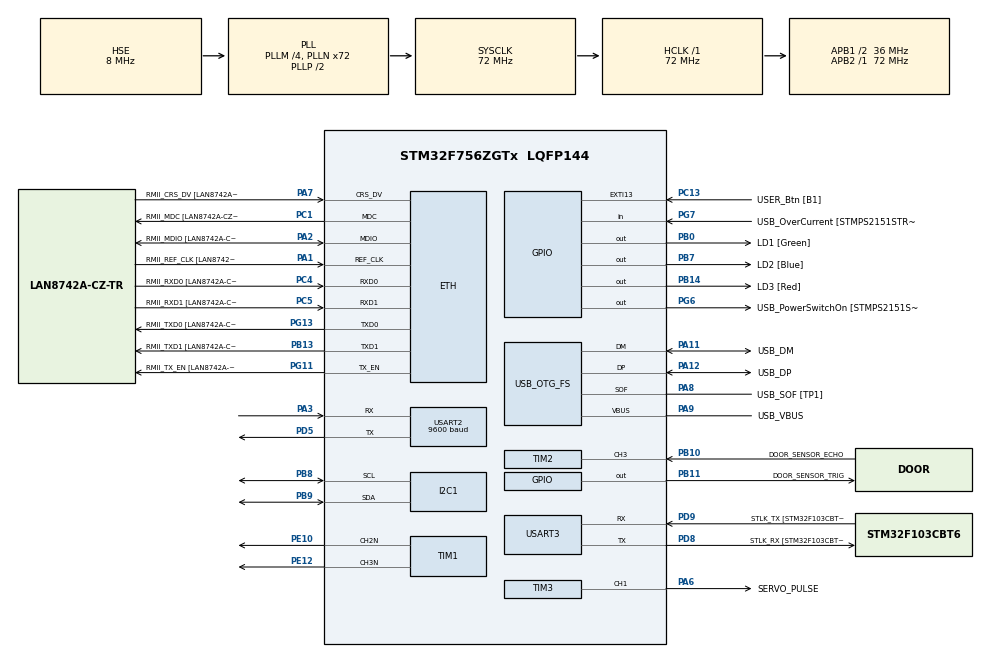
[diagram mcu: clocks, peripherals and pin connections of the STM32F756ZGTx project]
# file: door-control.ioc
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Dma.I2C1_RX.1.Direction=DMA_PERIPH_TO_MEMORY
Dma.I2C1_RX.1.FIFOMode=DMA_FIFOMODE_DISABLE
Dma.I2C1_RX.1.Instance=DMA1_Stream0
Dma.I2C1_RX.1.MemDataAlignment=DMA_MDATAALIGN_BYTE
Dma.I2C1_RX.1.MemInc=DMA_MINC_ENABLE
Dma.I2C1_RX.1.Mode=DMA_NORMAL
Dma.I2C1_RX.1.PeriphDataAlignment=DMA_PDATAALIGN_BYTE
Dma.I2C1_RX.1.PeriphInc=DMA_PINC_DISABLE
Dma.I2C1_RX.1.Priority=DMA_PRIORITY_LOW
Dma.I2C1_TX.0.Direction=DMA_MEMORY_TO_PERIPH
Dma.I2C1_TX.0.FIFOMode=DMA_FIFOMODE_DISABLE
Dma.I2C1_TX.0.Instance=DMA1_Stream6
Dma.I2C1_TX.0.MemDataAlignment=DMA_MDATAALIGN_BYTE
Dma.I2C1_TX.0.MemInc=DMA_MINC_ENABLE
Dma.I2C1_TX.0.Mode=DMA_NORMAL
Dma.I2C1_TX.0.PeriphDataAlignment=DMA_PDATAALIGN_BYTE
Dma.I2C1_TX.0.PeriphInc=DMA_PINC_DISABLE
Dma.I2C1_TX.0.Priority=DMA_PRIORITY_LOW
Dma.Request0=I2C1_TX
Dma.Request1=I2C1_RX
ETH.MediaInterface=HAL_ETH_RMII_MODE
ETH.PHY_Name=LAN8742A_PHY_ADDRESS
ETH.PHY_Value=0
ETH.PhyAddress=0
FREERTOS.Tasks01=UserInterfaceTa,24,256,StartUserInterfaceTask,Default,NULL,Static,UserInterfaceTaskBuffer,UserInterfaceTaskControlBlock;DoorOpsTask,48,256,StartDoorOpsTask,Default,NULL,Static,DoorOpsTaskBuffer,DoorOpsTaskControlBlock;CommsTask,32,256,StartCommsTask,Default,NULL,Static,CommsTaskBuffer,CommsTaskControlBlock;DoorSensorTask,49,256,StartDoorSensorTask,Default,NULL,Static,DoorSensorTaskBuffer,DoorSensorTaskControlBlock
FREERTOS.configUSE_NEWLIB_REENTRANT=1
I2C1.GeneralCallMode=I2C_GENERALCALL_ENABLE
I2C1.OwnAddress=0x0a
I2C1.Timing=0x00808CD2
LPTIM1.ClockPrescaler=LPTIM_PRESCALER_DIV128
LPTIM1.UpdateMode=LPTIM_UPDATE_IMMEDIATE
Mcu.Family=STM32F7
Mcu.Name=STM32F756ZGTx
Mcu.Package=LQFP144
NVIC.DMA1_Stream0_IRQn=true\:5\:0\:false\:false\:true\:true\:false\:true\:true
NVIC.DMA1_Stream6_IRQn=true\:5\:0\:false\:false\:true\:true\:false\:true\:true
NVIC.EXTI15_10_IRQn=true\:5\:0\:false\:false\:true\:true\:true\:true\:true
NVIC.I2C1_ER_IRQn=true\:5\:0\:false\:false\:true\:true\:true\:true\:true
NVIC.I2C1_EV_IRQn=true\:5\:0\:false\:false\:true\:true\:true\:true\:true
NVIC.LPTIM1_IRQn=true\:5\:0\:false\:false\:true\:true\:true\:true\:true
NVIC.PriorityGroup=NVIC_PRIORITYGROUP_4
NVIC.TIM2_IRQn=true\:5\:0\:false\:false\:true\:true\:true\:true\:true
NVIC.TIM4_IRQn=true\:15\:0\:false\:false\:true\:false\:false\:true\:true
NVIC.TimeBase=TIM4_IRQn
NVIC.TimeBaseIP=TIM4
PA1.GPIO_Label=RMII_REF_CLK [LAN8742A-CZ-TR_REFCLK0]
PA1.Mode=RMII
PA1.Signal=ETH_REF_CLK
PA10.GPIO_Label=USB_ID
PA10.Signal=USB_OTG_FS_ID
PA11.GPIO_Label=USB_DM
PA11.Mode=Device_Only
PA11.Signal=USB_OTG_FS_DM
PA12.GPIO_Label=USB_DP
PA12.Mode=Device_Only
PA12.Signal=USB_OTG_FS_DP
PA13.GPIO_Label=TMS
PA13.Mode=Serial_Wire
PA13.Signal=SYS_JTMS-SWDIO
PA14.GPIO_Label=TCK
PA14.Mode=Serial_Wire
PA14.Signal=SYS_JTCK-SWCLK
PA2.GPIO_Label=RMII_MDIO [LAN8742A-CZ-TR_MDIO]
PA2.Mode=RMII
PA2.Signal=ETH_MDIO
PA3.Mode=Asynchronous
PA3.Signal=USART2_RX
PA6.GPIO_Label=SERVO_PULSE
PA6.Signal=S_TIM3_CH1
PA7.GPIO_Label=RMII_CRS_DV [LAN8742A-CZ-TR_CRS_DV]
PA7.Mode=RMII
PA7.Signal=ETH_CRS_DV
PA8.GPIO_Label=USB_SOF [TP1]
PA8.Mode=Activate_SOF_FS
PA8.Signal=USB_OTG_FS_SOF
PA9.GPIO_Label=USB_VBUS
PA9.Mode=Activate_VBUS
PA9.Signal=USB_OTG_FS_VBUS
PB0.GPIO_Label=LD1 [Green]
PB0.Signal=GPIO_Output
PB10.GPIO_Label=DOOR_SENSOR_ECHO
PB10.GPIO_PuPd=GPIO_NOPULL
PB10.GPIO_Speed=GPIO_SPEED_FREQ_VERY_HIGH
PB10.Signal=S_TIM2_CH3
PB11.GPIO_Label=DOOR_SENSOR_TRIG
PB11.GPIO_PuPd=GPIO_NOPULL
PB11.GPIO_Speed=GPIO_SPEED_FREQ_VERY_HIGH
PB11.Signal=GPIO_Output
PB13.GPIO_Label=RMII_TXD1 [LAN8742A-CZ-TR_TXD1]
PB13.Mode=RMII
PB13.Signal=ETH_TXD1
PB14.GPIO_Label=LD3 [Red]
PB14.Signal=GPIO_Output
PB3.GPIO_Label=SW0
PB3.Signal=SYS_JTDO-SWO
PB7.GPIO_Label=LD2 [Blue]
PB7.Signal=GPIO_Output
PB8.GPIO_Pu=GPIO_PULLUP
PB8.Mode=I2C
PB8.Signal=I2C1_SCL
PB9.GPIO_Pu=GPIO_PULLUP
PB9.Mode=I2C
PB9.Signal=I2C1_SDA
PC1.GPIO_Label=RMII_MDC [LAN8742A-CZ-TR_MDC]
PC1.Mode=RMII
PC1.Signal=ETH_MDC
PC13.GPIO_Label=USER_Btn [B1]
PC13.Signal=GPXTI13
PC14/OSC32_IN.Mode=LSE-External-Oscillator
PC14/OSC32_IN.Signal=RCC_OSC32_IN
PC15/OSC32_OUT.Mode=LSE-External-Oscillator
PC15/OSC32_OUT.Signal=RCC_OSC32_OUT
PC4.GPIO_Label=RMII_RXD0 [LAN8742A-CZ-TR_RXD0]
PC4.Mode=RMII
PC4.Signal=ETH_RXD0
PC5.GPIO_Label=RMII_RXD1 [LAN8742A-CZ-TR_RXD1]
PC5.Mode=RMII
PC5.Signal=ETH_RXD1
PD5.Mode=Asynchronous
PD5.Signal=USART2_TX
PD8.GPIO_Label=STLK_RX [STM32F103CBT6_PA3]
PD8.Mode=Asynchronous
PD8.Signal=USART3_TX
PD9.GPIO_Label=STLK_TX [STM32F103CBT6_PA2]
PD9.Mode=Asynchronous
PD9.Signal=USART3_RX
PE10.Mode=PWM Generation2 CH2N
PE10.Signal=TIM1_CH2N
PE12.Mode=PWM Generation3 CH3N
PE12.Signal=TIM1_CH3N
PG11.GPIO_Label=RMII_TX_EN [LAN8742A-CZ-TR_TXEN]
PG11.Mode=RMII
PG11.Signal=ETH_TX_EN
PG13.GPIO_Label=RMII_TXD0 [LAN8742A-CZ-TR_TXD0]
PG13.Mode=RMII
PG13.Signal=ETH_TXD0
PG6.GPIO_Label=USB_PowerSwitchOn [STMPS2151STR_EN]
PG6.Signal=GPIO_Output
PG7.GPIO_Label=USB_OverCurrent [STMPS2151STR_FAULT]
PG7.Signal=GPIO_Input
PH0/OSC_IN.GPIO_Label=MCO [STM32F103CBT6_PA8]
PH0/OSC_IN.Mode=HSE-External-Clock-Source
PH0/OSC_IN.Signal=RCC_OSC_IN
PH1/OSC_OUT.Mode=HSE-External-Clock-Source
PH1/OSC_OUT.Signal=RCC_OSC_OUT
ProjectManager.HeapSize=0x200
ProjectManager.StackSize=0x400
ProjectManager.TargetToolchain=STM32CubeIDE
RCC.48MHZClocksFreq_Value=24000000
RCC.AHBFreq_Value=72000000
RCC.APB1CLKDivider=RCC_HCLK_DIV2
RCC.APB1Freq_Value=36000000
RCC.APB1TimFreq_Value=72000000
RCC.APB2Freq_Value=72000000
RCC.APB2TimFreq_Value=72000000
RCC.CortexFreq_Value=72000000
RCC.HCLKFreq_Value=72000000
RCC.HSE_VALUE=8000000
RCC.HSI_VALUE=16000000
RCC.PLLM=4
RCC.PLLMUL=RCC_PLL_MUL9
RCC.PLLN=72
RCC.PLLQ=3
RCC.PRESCALERUSB=RCC_USBCLKSOURCE_PLL_DIV1_5
RCC.SYSCLKFreq_VALUE=72000000
RCC.SYSCLKSource=RCC_SYSCLKSOURCE_PLLCLK
RCC.SYSCLKSourceVirtual=RCC_SYSCLKSOURCE_PLLCLK
RCC.USBFreq_Value=48000000
RCC.VCOOutputFreq_Value=144000000
SH.S_TIM2_CH3.0=TIM2_CH3,Input_Capture3_from_TI3
SH.S_TIM3_CH1.0=TIM3_CH1,PWM Generation1 CH1
TIM1.AutoReloadPreload=TIM_AUTORELOAD_PRELOAD_ENABLE
TIM1.Channel-PWM\ Generation2\ CH2N=TIM_CHANNEL_2
TIM1.Channel-PWM\ Generation3\ CH3N=TIM_CHANNEL_3
TIM2.AutoReloadPreload=TIM_AUTORELOAD_PRELOAD_ENABLE
TIM2.Channel-Input_Capture3_from_TI3=TIM_CHANNEL_3
TIM2.Channel-Input_Capture4_from_TI3_63=TIM_CHANNEL_4
TIM2.ICPolarity_CH3=TIM_INPUTCHANNELPOLARITY_RISING
TIM2.ICPolarity_CH4=TIM_INPUTCHANNELPOLARITY_FALLING
TIM2.Period=65535
TIM2.Prescaler=72-1
TIM3.AutoReloadPreload=TIM_AUTORELOAD_PRELOAD_ENABLE
TIM3.Channel-PWM\ Generation1\ CH1=TIM_CHANNEL_1
TIM3.OCMode_PWM-PWM\ Generation1\ CH1=TIM_OCMODE_PWM1
TIM3.Period=20000-1
TIM3.Prescaler=72-1
TIM3.Pulse-PWM\ Generation1\ CH1=0
TIM3.TIM_MasterSlaveMode=TIM_MASTERSLAVEMODE_DISABLE
USART2.AutoBaudRateEnableParam=UART_ADVFEATURE_AUTOBAUDRATE_DISABLE
USART2.BaudRate=9600
USART2.MSBFirstParam=ADVFEATURE_MSBFIRST_DISABLE
USART2.VirtualMode-Asynchronous=VM_ASYNC
USART3.VirtualMode-Asynchronous=VM_ASYNC
USB_OTG_FS.VirtualMode=Device_Only
VP_FREERTOS_VS_CMSIS_V2.Mode=CMSIS_V2
VP_LPTIM1_VS_LPTIM_counterModeInternalClock.Mode=Counts__internal_clock_event_00
VP_RTC_VS_RTC_Activate.Mode=RTC_Enabled
VP_RTC_VS_RTC_Calendar.Mode=RTC_Calendar
VP_SYS_VS_tim4.Mode=TIM4
VP_TIM2_VS_indirect_ch3.Mode=Input_Capture4_from_TI3_63
board=NUCLEO-F756ZG

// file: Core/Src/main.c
/* USER CODE BEGIN Header */
/**
  ******************************************************************************
  * @file           : main.c
  * @brief          : Main program body
  ******************************************************************************
  * @attention
  *
  * Copyright (c) 2025 STMicroelectronics.
  * All rights reserved.
  *
  * This software is licensed under terms that can be found in the LICENSE file
  * in the root directory of this software component.
  * If no LICENSE file comes with this software, it is provided AS-IS.
  *
  ******************************************************************************
  */
/* USER CODE END Header */
#include <door_date_time.h>
#include "main.h"
#include "string.h"
#include "cmsis_os.h"

/* USER CODE BEGIN Includes */
#include "door_control.h"
#include "door_sensor.h"
#include "user_interface.h"
#include "hub_comms.h"

/* USER CODE END Includes */

typedef StaticTask_t osStaticThreadDef_t;

#if defined ( __ICCARM__ ) /*!< IAR Compiler */
#pragma location=0x2004c000
ETH_DMADescTypeDef  DMARxDscrTab[ETH_RX_DESC_CNT]; /* Ethernet Rx DMA Descriptors */
#pragma location=0x2004c0a0
ETH_DMADescTypeDef  DMATxDscrTab[ETH_TX_DESC_CNT]; /* Ethernet Tx DMA Descriptors */

#elif defined ( __CC_ARM )  /* MDK ARM Compiler */

__attribute__((at(0x2004c000))) ETH_DMADescTypeDef  DMARxDscrTab[ETH_RX_DESC_CNT]; /* Ethernet Rx DMA Descriptors */
__attribute__((at(0x2004c0a0))) ETH_DMADescTypeDef  DMATxDscrTab[ETH_TX_DESC_CNT]; /* Ethernet Tx DMA Descriptors */

#elif defined ( __GNUC__ ) /* GNU Compiler */

ETH_DMADescTypeDef DMARxDscrTab[ETH_RX_DESC_CNT] __attribute__((section(".RxDecripSection"))); /* Ethernet Rx DMA Descriptors */
ETH_DMADescTypeDef DMATxDscrTab[ETH_TX_DESC_CNT] __attribute__((section(".TxDecripSection")));   /* Ethernet Tx DMA Descriptors */
#endif

ETH_TxPacketConfig TxConfig;

ETH_HandleTypeDef heth;

I2C_HandleTypeDef hi2c1;
DMA_HandleTypeDef hdma_i2c1_tx;
DMA_HandleTypeDef hdma_i2c1_rx;

LPTIM_HandleTypeDef hlptim1;

RTC_HandleTypeDef hrtc;

TIM_HandleTypeDef htim1;
TIM_HandleTypeDef htim2;
TIM_HandleTypeDef htim3;

UART_HandleTypeDef huart2;
UART_HandleTypeDef huart3;

PCD_HandleTypeDef hpcd_USB_OTG_FS;

/* Definitions for UserInterfaceTa */
osThreadId_t UserInterfaceTaHandle;
uint32_t UserInterfaceTaskBuffer[ 256 ];
osStaticThreadDef_t UserInterfaceTaskControlBlock;
const osThreadAttr_t UserInterfaceTa_attributes = {
  .name = "UserInterfaceTa",
  .cb_mem = &UserInterfaceTaskControlBlock,
  .cb_size = sizeof(UserInterfaceTaskControlBlock),
  .stack_mem = &UserInterfaceTaskBuffer[0],
  .stack_size = sizeof(UserInterfaceTaskBuffer),
  .priority = (osPriority_t) osPriorityNormal,
};
/* Definitions for DoorOpsTask */
osThreadId_t DoorOpsTaskHandle;
uint32_t DoorOpsTaskBuffer[ 256 ];
osStaticThreadDef_t DoorOpsTaskControlBlock;
const osThreadAttr_t DoorOpsTask_attributes = {
  .name = "DoorOpsTask",
  .cb_mem = &DoorOpsTaskControlBlock,
  .cb_size = sizeof(DoorOpsTaskControlBlock),
  .stack_mem = &DoorOpsTaskBuffer[0],
  .stack_size = sizeof(DoorOpsTaskBuffer),
  .priority = (osPriority_t) osPriorityRealtime,
};
/* Definitions for CommsTask */
osThreadId_t CommsTaskHandle;
uint32_t CommsTaskBuffer[ 256 ];
osStaticThreadDef_t CommsTaskControlBlock;
const osThreadAttr_t CommsTask_attributes = {
  .name = "CommsTask",
  .cb_mem = &CommsTaskControlBlock,
  .cb_size = sizeof(CommsTaskControlBlock),
  .stack_mem = &CommsTaskBuffer[0],
  .stack_size = sizeof(CommsTaskBuffer),
  .priority = (osPriority_t) osPriorityAboveNormal,
};
/* Definitions for DoorSensorTask */
osThreadId_t DoorSensorTaskHandle;
uint32_t DoorSensorTaskBuffer[ 256 ];
osStaticThreadDef_t DoorSensorTaskControlBlock;
const osThreadAttr_t DoorSensorTask_attributes = {
  .name = "DoorSensorTask",
  .cb_mem = &DoorSensorTaskControlBlock,
  .cb_size = sizeof(DoorSensorTaskControlBlock),
  .stack_mem = &DoorSensorTaskBuffer[0],
  .stack_size = sizeof(DoorSensorTaskBuffer),
  .priority = (osPriority_t) osPriorityRealtime1,
};

void SystemClock_Config(void);
static void MX_GPIO_Init(void);
static void MX_DMA_Init(void);
static void MX_ETH_Init(void);
static void MX_I2C1_Init(void);
static void MX_USART3_UART_Init(void);
static void MX_USB_OTG_FS_PCD_Init(void);
static void MX_TIM3_Init(void);
static void MX_RTC_Init(void);
static void MX_LPTIM1_Init(void);
static void MX_USART2_UART_Init(void);
static void MX_TIM1_Init(void);
static void MX_TIM2_Init(void);
void StartUserInterfaceTask(void *argument);
void StartDoorOpsTask(void *argument);
void StartCommsTask(void *argument);
void StartDoorSensorTask(void *argument);

int main(void)
{

  /* MCU Configuration--------------------------------------------------------*/

  /* Reset of all peripherals, Initializes the Flash interface and the Systick. */
  HAL_Init();

  /* Configure the system clock */
  SystemClock_Config();

  /* Initialize all configured peripherals */
  MX_GPIO_Init();
  MX_DMA_Init();
  MX_ETH_Init();
  MX_I2C1_Init();
  MX_USART3_UART_Init();
  MX_USB_OTG_FS_PCD_Init();
  MX_TIM3_Init();
  MX_RTC_Init();
  MX_LPTIM1_Init();
  MX_USART2_UART_Init();
  MX_TIM1_Init();
  MX_TIM2_Init();
  /* USER CODE BEGIN 2 */
  serial_uart_initialize();
  event_log_initialize();
  event_log_append_minimal(PACKET_REPORT_FRESH_BOOT);
  /* USER CODE END 2 */

  /* Init scheduler */
  osKernelInitialize();

  /* Create the thread(s) */
  /* creation of UserInterfaceTa */
  UserInterfaceTaHandle = osThreadNew(StartUserInterfaceTask, NULL, &UserInterfaceTa_attributes);

  /* creation of DoorOpsTask */
  DoorOpsTaskHandle = osThreadNew(StartDoorOpsTask, NULL, &DoorOpsTask_attributes);

  /* creation of CommsTask */
  CommsTaskHandle = osThreadNew(StartCommsTask, NULL, &CommsTask_attributes);

  /* creation of DoorSensorTask */
  DoorSensorTaskHandle = osThreadNew(StartDoorSensorTask, NULL, &DoorSensorTask_attributes);

  /* Start scheduler */
  osKernelStart();

  /* We should never get here as control is now taken by the scheduler */

  /* Infinite loop */
  while (1)
  {

  }
}

void SystemClock_Config(void)
{
  RCC_OscInitTypeDef RCC_OscInitStruct = {0};
  RCC_ClkInitTypeDef RCC_ClkInitStruct = {0};

  /** Configure LSE Drive Capability
  */
  HAL_PWR_EnableBkUpAccess();

  /** Configure the main internal regulator output voltage
  */
  __HAL_RCC_PWR_CLK_ENABLE();
  __HAL_PWR_VOLTAGESCALING_CONFIG(PWR_REGULATOR_VOLTAGE_SCALE3);

  /** Initializes the RCC Oscillators according to the specified parameters
  * in the RCC_OscInitTypeDef structure.
  */
  RCC_OscInitStruct.OscillatorType = RCC_OSCILLATORTYPE_LSI|RCC_OSCILLATORTYPE_HSE;
  RCC_OscInitStruct.HSEState = RCC_HSE_BYPASS;
  RCC_OscInitStruct.LSIState = RCC_LSI_ON;
  RCC_OscInitStruct.PLL.PLLState = RCC_PLL_ON;
  RCC_OscInitStruct.PLL.PLLSource = RCC_PLLSOURCE_HSE;
  RCC_OscInitStruct.PLL.PLLM = 4;
  RCC_OscInitStruct.PLL.PLLN = 72;
  RCC_OscInitStruct.PLL.PLLP = RCC_PLLP_DIV2;
  RCC_OscInitStruct.PLL.PLLQ = 3;
  if (HAL_RCC_OscConfig(&RCC_OscInitStruct) != HAL_OK)
  {
    Error_Handler();
  }

  /** Initializes the CPU, AHB and APB buses clocks
  */
  RCC_ClkInitStruct.ClockType = RCC_CLOCKTYPE_HCLK|RCC_CLOCKTYPE_SYSCLK
                              |RCC_CLOCKTYPE_PCLK1|RCC_CLOCKTYPE_PCLK2;
  RCC_ClkInitStruct.SYSCLKSource = RCC_SYSCLKSOURCE_PLLCLK;
  RCC_ClkInitStruct.AHBCLKDivider = RCC_SYSCLK_DIV1;
  RCC_ClkInitStruct.APB1CLKDivider = RCC_HCLK_DIV2;
  RCC_ClkInitStruct.APB2CLKDivider = RCC_HCLK_DIV1;

  if (HAL_RCC_ClockConfig(&RCC_ClkInitStruct, FLASH_LATENCY_2) != HAL_OK)
  {
    Error_Handler();
  }
}

static void MX_ETH_Init(void)
{

   static uint8_t MACAddr[6];

  heth.Instance = ETH;
  MACAddr[0] = 0x00;
  MACAddr[1] = 0x80;
  MACAddr[2] = 0xE1;
  MACAddr[3] = 0x00;
  MACAddr[4] = 0x00;
  MACAddr[5] = 0x00;
  heth.Init.MACAddr = &MACAddr[0];
  heth.Init.MediaInterface = HAL_ETH_RMII_MODE;
  heth.Init.TxDesc = DMATxDscrTab;
  heth.Init.RxDesc = DMARxDscrTab;
  heth.Init.RxBuffLen = 1524;

  if (HAL_ETH_Init(&heth) != HAL_OK)
  {
    Error_Handler();
  }

  memset(&TxConfig, 0 , sizeof(ETH_TxPacketConfig));
  TxConfig.Attributes = ETH_TX_PACKETS_FEATURES_CSUM | ETH_TX_PACKETS_FEATURES_CRCPAD;
  TxConfig.ChecksumCtrl = ETH_CHECKSUM_IPHDR_PAYLOAD_INSERT_PHDR_CALC;
  TxConfig.CRCPadCtrl = ETH_CRC_PAD_INSERT;

}

static void MX_I2C1_Init(void)
{

  hi2c1.Instance = I2C1;
  hi2c1.Init.Timing = 0x00808CD2;
  hi2c1.Init.OwnAddress1 = 20;
  hi2c1.Init.AddressingMode = I2C_ADDRESSINGMODE_7BIT;
  hi2c1.Init.DualAddressMode = I2C_DUALADDRESS_DISABLE;
  hi2c1.Init.OwnAddress2 = 0;
  hi2c1.Init.OwnAddress2Masks = I2C_OA2_NOMASK;
  hi2c1.Init.GeneralCallMode = I2C_GENERALCALL_ENABLE;
  hi2c1.Init.NoStretchMode = I2C_NOSTRETCH_DISABLE;
  if (HAL_I2C_Init(&hi2c1) != HAL_OK)
  {
    Error_Handler();
  }

  /** Configure Analogue filter
  */
  if (HAL_I2CEx_ConfigAnalogFilter(&hi2c1, I2C_ANALOGFILTER_ENABLE) != HAL_OK)
  {
    Error_Handler();
  }

  /** Configure Digital filter
  */
  if (HAL_I2CEx_ConfigDigitalFilter(&hi2c1, 0) != HAL_OK)
  {
    Error_Handler();
  }

}

static void MX_LPTIM1_Init(void)
{

  hlptim1.Instance = LPTIM1;
  hlptim1.Init.Clock.Source = LPTIM_CLOCKSOURCE_APBCLOCK_LPOSC;
  hlptim1.Init.Clock.Prescaler = LPTIM_PRESCALER_DIV128;
  hlptim1.Init.Trigger.Source = LPTIM_TRIGSOURCE_SOFTWARE;
  hlptim1.Init.OutputPolarity = LPTIM_OUTPUTPOLARITY_HIGH;
  hlptim1.Init.UpdateMode = LPTIM_UPDATE_IMMEDIATE;
  hlptim1.Init.CounterSource = LPTIM_COUNTERSOURCE_INTERNAL;
  if (HAL_LPTIM_Init(&hlptim1) != HAL_OK)
  {
    Error_Handler();
  }

}

static void MX_RTC_Init(void)
{

  RTC_TimeTypeDef sTime = {0};
  RTC_DateTypeDef sDate = {0};
  RTC_AlarmTypeDef sAlarm = {0};

  /** Initialize RTC Only
  */
  hrtc.Instance = RTC;
  hrtc.Init.HourFormat = RTC_HOURFORMAT_24;
  hrtc.Init.AsynchPrediv = 127;
  hrtc.Init.SynchPrediv = 255;
  hrtc.Init.OutPut = RTC_OUTPUT_DISABLE;
  hrtc.Init.OutPutPolarity = RTC_OUTPUT_POLARITY_HIGH;
  hrtc.Init.OutPutType = RTC_OUTPUT_TYPE_OPENDRAIN;
  if (HAL_RTC_Init(&hrtc) != HAL_OK)
  {
    Error_Handler();
  }

  /** Initialize RTC and set the Time and Date
  */
  sTime.Hours = 0x0;
  sTime.Minutes = 0x0;
  sTime.Seconds = 0x0;
  sTime.DayLightSaving = RTC_DAYLIGHTSAVING_NONE;
  sTime.StoreOperation = RTC_STOREOPERATION_RESET;
  if (HAL_RTC_SetTime(&hrtc, &sTime, RTC_FORMAT_BCD) != HAL_OK)
  {
    Error_Handler();
  }
  sDate.WeekDay = RTC_WEEKDAY_MONDAY;
  sDate.Month = RTC_MONTH_JANUARY;
  sDate.Date = 0x1;
  sDate.Year = 0x0;
  if (HAL_RTC_SetDate(&hrtc, &sDate, RTC_FORMAT_BCD) != HAL_OK)
  {
    Error_Handler();
  }

  /** Enable the Alarm A
  */
  sAlarm.AlarmTime.Hours = 0x0;
  sAlarm.AlarmTime.Minutes = 0x0;
  sAlarm.AlarmTime.Seconds = 0x1;
  sAlarm.AlarmTime.SubSeconds = 0x0;
  sAlarm.AlarmTime.DayLightSaving = RTC_DAYLIGHTSAVING_NONE;
  sAlarm.AlarmTime.StoreOperation = RTC_STOREOPERATION_RESET;
  sAlarm.AlarmMask = RTC_ALARMMASK_DATEWEEKDAY|RTC_ALARMMASK_HOURS
                              |RTC_ALARMMASK_MINUTES;
  sAlarm.AlarmSubSecondMask = RTC_ALARMSUBSECONDMASK_ALL;
  sAlarm.AlarmDateWeekDaySel = RTC_ALARMDATEWEEKDAYSEL_DATE;
  sAlarm.AlarmDateWeekDay = 0x1;
  sAlarm.Alarm = RTC_ALARM_A;
  if (HAL_RTC_SetAlarm_IT(&hrtc, &sAlarm, RTC_FORMAT_BCD) != HAL_OK)
  {
    Error_Handler();
  }

}

static void MX_TIM1_Init(void)
{

  TIM_MasterConfigTypeDef sMasterConfig = {0};
  TIM_OC_InitTypeDef sConfigOC = {0};
  TIM_BreakDeadTimeConfigTypeDef sBreakDeadTimeConfig = {0};

  htim1.Instance = TIM1;
  htim1.Init.Prescaler = 0;
  htim1.Init.CounterMode = TIM_COUNTERMODE_UP;
  htim1.Init.Period = 65535;
  htim1.Init.ClockDivision = TIM_CLOCKDIVISION_DIV1;
  htim1.Init.RepetitionCounter = 0;
  htim1.Init.AutoReloadPreload = TIM_AUTORELOAD_PRELOAD_ENABLE;
  if (HAL_TIM_PWM_Init(&htim1) != HAL_OK)
  {
    Error_Handler();
  }
  sMasterConfig.MasterOutputTrigger = TIM_TRGO_RESET;
  sMasterConfig.MasterOutputTrigger2 = TIM_TRGO2_RESET;
  sMasterConfig.MasterSlaveMode = TIM_MASTERSLAVEMODE_DISABLE;
  if (HAL_TIMEx_MasterConfigSynchronization(&htim1, &sMasterConfig) != HAL_OK)
  {
    Error_Handler();
  }
  sConfigOC.OCMode = TIM_OCMODE_PWM1;
  sConfigOC.Pulse = 0;
  sConfigOC.OCPolarity = TIM_OCPOLARITY_HIGH;
  sConfigOC.OCNPolarity = TIM_OCNPOLARITY_HIGH;
  sConfigOC.OCFastMode = TIM_OCFAST_DISABLE;
  sConfigOC.OCIdleState = TIM_OCIDLESTATE_RESET;
  sConfigOC.OCNIdleState = TIM_OCNIDLESTATE_RESET;
  if (HAL_TIM_PWM_ConfigChannel(&htim1, &sConfigOC, TIM_CHANNEL_2) != HAL_OK)
  {
    Error_Handler();
  }
  if (HAL_TIM_PWM_ConfigChannel(&htim1, &sConfigOC, TIM_CHANNEL_3) != HAL_OK)
  {
    Error_Handler();
  }
  sBreakDeadTimeConfig.OffStateRunMode = TIM_OSSR_DISABLE;
  sBreakDeadTimeConfig.OffStateIDLEMode = TIM_OSSI_DISABLE;
  sBreakDeadTimeConfig.LockLevel = TIM_LOCKLEVEL_OFF;
  sBreakDeadTimeConfig.DeadTime = 0;
  sBreakDeadTimeConfig.BreakState = TIM_BREAK_DISABLE;
  sBreakDeadTimeConfig.BreakPolarity = TIM_BREAKPOLARITY_HIGH;
  sBreakDeadTimeConfig.BreakFilter = 0;
  sBreakDeadTimeConfig.Break2State = TIM_BREAK2_DISABLE;
  sBreakDeadTimeConfig.Break2Polarity = TIM_BREAK2POLARITY_HIGH;
  sBreakDeadTimeConfig.Break2Filter = 0;
  sBreakDeadTimeConfig.AutomaticOutput = TIM_AUTOMATICOUTPUT_DISABLE;
  if (HAL_TIMEx_ConfigBreakDeadTime(&htim1, &sBreakDeadTimeConfig) != HAL_OK)
  {
    Error_Handler();
  }
  HAL_TIM_MspPostInit(&htim1);

}

static void MX_TIM2_Init(void)
{

  TIM_MasterConfigTypeDef sMasterConfig = {0};
  TIM_IC_InitTypeDef sConfigIC = {0};

  htim2.Instance = TIM2;
  htim2.Init.Prescaler = 72-1;
  htim2.Init.CounterMode = TIM_COUNTERMODE_UP;
  htim2.Init.Period = 65535;
  htim2.Init.ClockDivision = TIM_CLOCKDIVISION_DIV1;
  htim2.Init.AutoReloadPreload = TIM_AUTORELOAD_PRELOAD_ENABLE;
  if (HAL_TIM_IC_Init(&htim2) != HAL_OK)
  {
    Error_Handler();
  }
  sMasterConfig.MasterOutputTrigger = TIM_TRGO_RESET;
  sMasterConfig.MasterSlaveMode = TIM_MASTERSLAVEMODE_DISABLE;
  if (HAL_TIMEx_MasterConfigSynchronization(&htim2, &sMasterConfig) != HAL_OK)
  {
    Error_Handler();
  }
  sConfigIC.ICPolarity = TIM_INPUTCHANNELPOLARITY_RISING;
  sConfigIC.ICSelection = TIM_ICSELECTION_DIRECTTI;
  sConfigIC.ICPrescaler = TIM_ICPSC_DIV1;
  sConfigIC.ICFilter = 0;
  if (HAL_TIM_IC_ConfigChannel(&htim2, &sConfigIC, TIM_CHANNEL_3) != HAL_OK)
  {
    Error_Handler();
  }
  sConfigIC.ICPolarity = TIM_INPUTCHANNELPOLARITY_FALLING;
  sConfigIC.ICSelection = TIM_ICSELECTION_INDIRECTTI;
  if (HAL_TIM_IC_ConfigChannel(&htim2, &sConfigIC, TIM_CHANNEL_4) != HAL_OK)
  {
    Error_Handler();
  }

}

static void MX_TIM3_Init(void)
{

  TIM_MasterConfigTypeDef sMasterConfig = {0};
  TIM_OC_InitTypeDef sConfigOC = {0};

  htim3.Instance = TIM3;
  htim3.Init.Prescaler = 72-1;
  htim3.Init.CounterMode = TIM_COUNTERMODE_UP;
  htim3.Init.Period = 20000-1;
  htim3.Init.ClockDivision = TIM_CLOCKDIVISION_DIV1;
  htim3.Init.AutoReloadPreload = TIM_AUTORELOAD_PRELOAD_ENABLE;
  if (HAL_TIM_PWM_Init(&htim3) != HAL_OK)
  {
    Error_Handler();
  }
  sMasterConfig.MasterOutputTrigger = TIM_TRGO_RESET;
  sMasterConfig.MasterSlaveMode = TIM_MASTERSLAVEMODE_DISABLE;
  if (HAL_TIMEx_MasterConfigSynchronization(&htim3, &sMasterConfig) != HAL_OK)
  {
    Error_Handler();
  }
  sConfigOC.OCMode = TIM_OCMODE_PWM1;
  sConfigOC.Pulse = 0;
  sConfigOC.OCPolarity = TIM_OCPOLARITY_HIGH;
  sConfigOC.OCFastMode = TIM_OCFAST_DISABLE;
  if (HAL_TIM_PWM_ConfigChannel(&htim3, &sConfigOC, TIM_CHANNEL_1) != HAL_OK)
  {
    Error_Handler();
  }
  HAL_TIM_MspPostInit(&htim3);

}

static void MX_USART2_UART_Init(void)
{

  huart2.Instance = USART2;
  huart2.Init.BaudRate = 9600;
  huart2.Init.WordLength = UART_WORDLENGTH_8B;
  huart2.Init.StopBits = UART_STOPBITS_1;
  huart2.Init.Parity = UART_PARITY_NONE;
  huart2.Init.Mode = UART_MODE_TX_RX;
  huart2.Init.HwFlowCtl = UART_HWCONTROL_NONE;
  huart2.Init.OverSampling = UART_OVERSAMPLING_16;
  huart2.Init.OneBitSampling = UART_ONE_BIT_SAMPLE_DISABLE;
  huart2.AdvancedInit.AdvFeatureInit = UART_ADVFEATURE_NO_INIT;
  if (HAL_UART_Init(&huart2) != HAL_OK)
  {
    Error_Handler();
  }

}

static void MX_USART3_UART_Init(void)
{

  huart3.Instance = USART3;
  huart3.Init.BaudRate = 115200;
  huart3.Init.WordLength = UART_WORDLENGTH_8B;
  huart3.Init.StopBits = UART_STOPBITS_1;
  huart3.Init.Parity = UART_PARITY_NONE;
  huart3.Init.Mode = UART_MODE_TX_RX;
  huart3.Init.HwFlowCtl = UART_HWCONTROL_NONE;
  huart3.Init.OverSampling = UART_OVERSAMPLING_16;
  huart3.Init.OneBitSampling = UART_ONE_BIT_SAMPLE_DISABLE;
  huart3.AdvancedInit.AdvFeatureInit = UART_ADVFEATURE_NO_INIT;
  if (HAL_UART_Init(&huart3) != HAL_OK)
  {
    Error_Handler();
  }

}

static void MX_USB_OTG_FS_PCD_Init(void)
{

  hpcd_USB_OTG_FS.Instance = USB_OTG_FS;
  hpcd_USB_OTG_FS.Init.dev_endpoints = 6;
  hpcd_USB_OTG_FS.Init.speed = PCD_SPEED_FULL;
  hpcd_USB_OTG_FS.Init.dma_enable = DISABLE;
  hpcd_USB_OTG_FS.Init.phy_itface = PCD_PHY_EMBEDDED;
  hpcd_USB_OTG_FS.Init.Sof_enable = ENABLE;
  hpcd_USB_OTG_FS.Init.low_power_enable = DISABLE;
  hpcd_USB_OTG_FS.Init.lpm_enable = DISABLE;
  hpcd_USB_OTG_FS.Init.vbus_sensing_enable = ENABLE;
  hpcd_USB_OTG_FS.Init.use_dedicated_ep1 = DISABLE;
  if (HAL_PCD_Init(&hpcd_USB_OTG_FS) != HAL_OK)
  {
    Error_Handler();
  }

}

static void MX_DMA_Init(void)
{

  /* DMA controller clock enable */
  __HAL_RCC_DMA1_CLK_ENABLE();

  /* DMA interrupt init */
  /* DMA1_Stream0_IRQn interrupt configuration */
  HAL_NVIC_SetPriority(DMA1_Stream0_IRQn, 5, 0);
  HAL_NVIC_EnableIRQ(DMA1_Stream0_IRQn);
  /* DMA1_Stream6_IRQn interrupt configuration */
  HAL_NVIC_SetPriority(DMA1_Stream6_IRQn, 5, 0);
  HAL_NVIC_EnableIRQ(DMA1_Stream6_IRQn);

}

static void MX_GPIO_Init(void)
{
  GPIO_InitTypeDef GPIO_InitStruct = {0};

  /* GPIO Ports Clock Enable */
  __HAL_RCC_GPIOC_CLK_ENABLE();
  __HAL_RCC_GPIOH_CLK_ENABLE();
  __HAL_RCC_GPIOA_CLK_ENABLE();
  __HAL_RCC_GPIOB_CLK_ENABLE();
  __HAL_RCC_GPIOE_CLK_ENABLE();
  __HAL_RCC_GPIOD_CLK_ENABLE();
  __HAL_RCC_GPIOG_CLK_ENABLE();

  /*Configure GPIO pin Output Level */
  HAL_GPIO_WritePin(GPIOB, LD1_Pin|DOOR_SENSOR_TRIG_Pin|LD3_Pin|LD2_Pin, GPIO_PIN_RESET);

  /*Configure GPIO pin Output Level */
  HAL_GPIO_WritePin(USB_PowerSwitchOn_GPIO_Port, USB_PowerSwitchOn_Pin, GPIO_PIN_RESET);

  /*Configure GPIO pin : USER_Btn_Pin */
  GPIO_InitStruct.Pin = USER_Btn_Pin;
  GPIO_InitStruct.Mode = GPIO_MODE_IT_RISING;
  GPIO_InitStruct.Pull = GPIO_NOPULL;
  HAL_GPIO_Init(USER_Btn_GPIO_Port, &GPIO_InitStruct);

  /*Configure GPIO pins : LD1_Pin LD3_Pin LD2_Pin */
  GPIO_InitStruct.Pin = LD1_Pin|LD3_Pin|LD2_Pin;
  GPIO_InitStruct.Mode = GPIO_MODE_OUTPUT_PP;
  GPIO_InitStruct.Pull = GPIO_NOPULL;
  GPIO_InitStruct.Speed = GPIO_SPEED_FREQ_LOW;
  HAL_GPIO_Init(GPIOB, &GPIO_InitStruct);

  /*Configure GPIO pin : DOOR_SENSOR_TRIG_Pin */
  GPIO_InitStruct.Pin = DOOR_SENSOR_TRIG_Pin;
  GPIO_InitStruct.Mode = GPIO_MODE_OUTPUT_PP;
  GPIO_InitStruct.Pull = GPIO_NOPULL;
  GPIO_InitStruct.Speed = GPIO_SPEED_FREQ_VERY_HIGH;
  HAL_GPIO_Init(DOOR_SENSOR_TRIG_GPIO_Port, &GPIO_InitStruct);

  /*Configure GPIO pin : USB_PowerSwitchOn_Pin */
  GPIO_InitStruct.Pin = USB_PowerSwitchOn_Pin;
  GPIO_InitStruct.Mode = GPIO_MODE_OUTPUT_PP;
  GPIO_InitStruct.Pull = GPIO_NOPULL;
  GPIO_InitStruct.Speed = GPIO_SPEED_FREQ_LOW;
  HAL_GPIO_Init(USB_PowerSwitchOn_GPIO_Port, &GPIO_InitStruct);

  /*Configure GPIO pin : USB_OverCurrent_Pin */
  GPIO_InitStruct.Pin = USB_OverCurrent_Pin;
  GPIO_InitStruct.Mode = GPIO_MODE_INPUT;
  GPIO_InitStruct.Pull = GPIO_NOPULL;
  HAL_GPIO_Init(USB_OverCurrent_GPIO_Port, &GPIO_InitStruct);

  /* EXTI interrupt init*/
  HAL_NVIC_SetPriority(EXTI15_10_IRQn, 5, 0);
  HAL_NVIC_EnableIRQ(EXTI15_10_IRQn);

}

void StartUserInterfaceTask(void *argument)
{
  /* USER CODE BEGIN 5 */
	vTaskDelay(pdMS_TO_TICKS(500));
	interface_init();
  /* Infinite loop */
	for(;;)
	{
		interface_loop();
	}
  /* USER CODE END 5 */
}

void StartDoorOpsTask(void *argument)
{
  /* USER CODE BEGIN StartDoorOpsTask */
	door_control_init();
	HAL_LPTIM_Counter_Start_IT(&hlptim1, 28125);
  /* Infinite loop */
  for(;;)
  {
	  door_control_loop();
  }
  /* USER CODE END StartDoorOpsTask */
}

void StartCommsTask(void *argument)
{
  /* USER CODE BEGIN StartCommsTask */
	comms_init();
  /* Infinite loop */
  for(;;)
  {
	  comms_loop();
  }
  /* USER CODE END StartCommsTask */
}

void StartDoorSensorTask(void *argument)
{
  /* USER CODE BEGIN StartDoorSensorTask */
  /* Infinite loop */
  for(;;)
  {
	  door_sensor_loop();
  }
  /* USER CODE END StartDoorSensorTask */
}

void HAL_TIM_PeriodElapsedCallback(TIM_HandleTypeDef *htim)
{
  if (htim->Instance == TIM4)
  {
    HAL_IncTick();
  }
  /* USER CODE BEGIN Callback 1 */
  else if (htim->Instance == TIM2)
  {
	if (door_sensor_get_state() == SENSOR_STATE_REBOOTING)
	{
	  // safety period over, start sensor again
	  door_sensor_enable(true);
	}
	else
	{
		// max echo surpassed, restart sensor after safety period
		door_sensor_reboot();
	}
  }
  /* USER CODE END Callback 1 */
}

void Error_Handler(void)
{
  __disable_irq();
  while (1)
  {
  }
}
